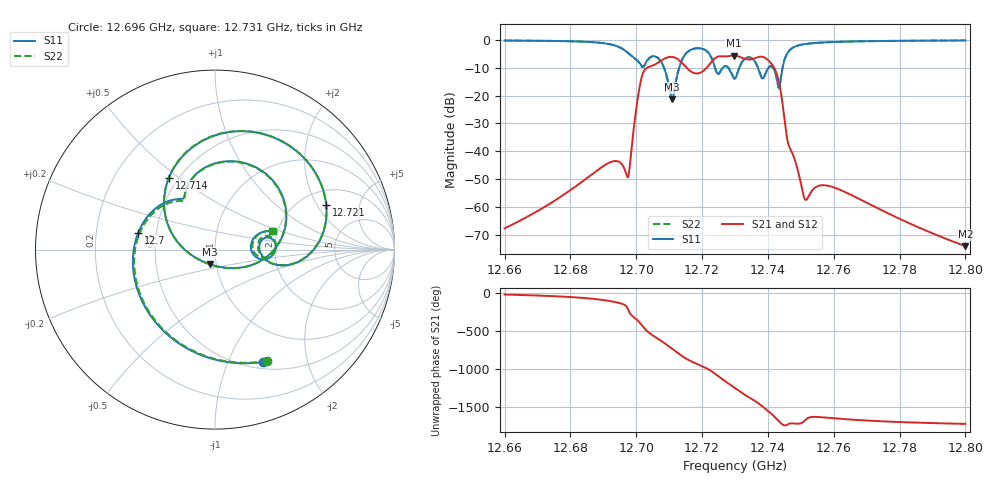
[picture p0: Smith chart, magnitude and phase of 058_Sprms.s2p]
! TOUCHSTONE file generated by CST MICROWAVE STUDIO
! Date and time: Wed Jul 31 13:37:04 2024
! Project name: WaveGuide_BPF-Ver4.1_U-shape_Ku_T3_C4_CWA_2.cst
! Parameters = {cavity_h=16; cavity_l0=10; cavity_l1=15.2049; cavity_l2=16.876; cavity_l3=17.1096; cavity_l4=17.2892; cavity_l5=17.1405; cavity_l6=17.6258; cavity_r=2.5; cavity_screw_l=0.5; cavity_screw_r=1.5; cavity_w=8; iris_h00=0; iris_h01=8.8122; iris_h112=0; iris_h12=5.6111; iris_h211=3.6666; i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
! Header version: 2018
! Port assignment regex: !\s*Touchstone port\s*([0-9]+)\s*=\s*(CST MWS port|CST DS port)\s*([0-9]+|Zmin|Zmax)\s*\(\"(.*)\"\)(\s*mode\s*([0-9]+))?.*
! Touchstone port assignment:
! Touchstone port 1 = CST MWS port 1 ("")
! Touchstone port 2 = CST MWS port 2 ("")
# GHz S RI R 50
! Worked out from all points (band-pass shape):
!   5001 points, 12.66 GHz to 12.8 GHz, reference 50 ohm
!   highest |S21| = -5.57 dB at 12.73 GHz (marker M1); lowest = -74.1 dB at 12.8 GHz (marker M2)
!   |S21| within 3 dB of the highest: 12.70603 GHz to 12.71417 GHz (8.139 MHz wide, 0.064 % of centre); 12.72238 GHz to 12.74109 GHz (18.71 MHz wide, 0.147 % of centre)
!   lowest |S11| = -21.2 dB at 12.711 GHz (marker M3), VSWR 1.19, Z = 46.7 - j7.75 ohm
!   |S11| at or under -10 dB: 12.70846 GHz to 12.71304 GHz (4.584 MHz wide, 0.0361 % of centre); 12.72797 GHz to 12.73131 GHz (3.345 MHz wide, 0.0263 % of centre); 12.73698 GHz to 12.74014 GHz (3.162 MHz wide, 0.0248 % of centre)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
!   |S22| runs from -21.2 to -0.2 dB; largest |S21 - S12| = 1e-09
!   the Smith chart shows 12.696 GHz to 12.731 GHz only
!   S11 on the Smith chart (normalised r, x): 12.696 GHz: 0.58, -1.35; 12.7 GHz: 0.39, +0.09; 12.714 GHz: 0.45, +0.46; 12.721 GHz: 2.69, +2.41; 12.731 GHz: 1.87, +0.44
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12.66  0.3543 0.9125  0.000372 -0.000178  0.000372 -0.000178  0.3478 0.9151
12.68335  0.8218 0.449  0.00103 -0.00259  0.00103 -0.00259  0.817 0.4588
12.69601  0.2692 -0.6256  -0.00476 -0.00258  -0.00476 -0.00258  0.2892 -0.6196
12.69772  -0.1597 -0.5486  -0.00186 0.00337  -0.00186 0.00337  -0.1403 -0.5549
12.70018  -0.4288 0.0918  0.0692 0.0058  0.0692 0.0058  -0.4244 0.0804
12.70267  -0.1621 0.3328  -0.1383 -0.2621  -0.1383 -0.2621  -0.1653 0.321
12.70668  0.3855 0.2711  -0.1438 0.3663  -0.1438 0.3663  0.3831 0.27
12.7109  -0.0272 -0.0823  0.4727 -0.1531  0.4727 -0.1531  -0.0354 -0.0796
12.71421  -0.2564 0.4004  -0.1974 -0.3139  -0.1974 -0.3139  -0.256 0.4051
12.72079  0.6199 0.248  -0.0444 0.2889  -0.0444 0.2889  0.6188 0.2498
12.72482  0.2471 0.00665  0.4854 -0.1257  0.4854 -0.1257  0.2397 0.0112
12.72964  0.2034 -0.0079  -0.5027 -0.1565  -0.5027 -0.1565  0.2119 -0.00227
12.73  0.2001 0.0242  -0.5227 -0.052  -0.5227 -0.052  0.2085 0.0282
12.73148  0.3195 0.1031  -0.3777 0.3219  -0.3777 0.3219  0.3245 0.103
12.73675  0.1538 -0.3056  0.4865 -0.0191  0.4865 -0.0191  0.156 -0.3053
12.73918  0.1826 -0.1609  0.0522 -0.473  0.0522 -0.473  0.1816 -0.1629
12.74184  -0.0243 -0.2995  -0.3195 0.0128  -0.3195 0.0128  -0.0326 -0.2942
12.74473  0.2826 0.2468  0.0259 0.0458  0.0259 0.0458  0.2826 0.2564
12.75092  0.2968 -0.7856  -0.000455 0.00147  -0.000455 0.00147  0.3096 -0.7801
12.75335  0.0287 -0.8742  -0.0019 0.000432  -0.0019 0.000432  0.0415 -0.8731
12.77668  -0.942 -0.2024  -0.000214 0.000728  -0.000214 0.000728  -0.9404 -0.209
12.8  -0.941 0.2794  4.57e-05 0.000192  4.57e-05 0.000192  -0.9425 0.2742
